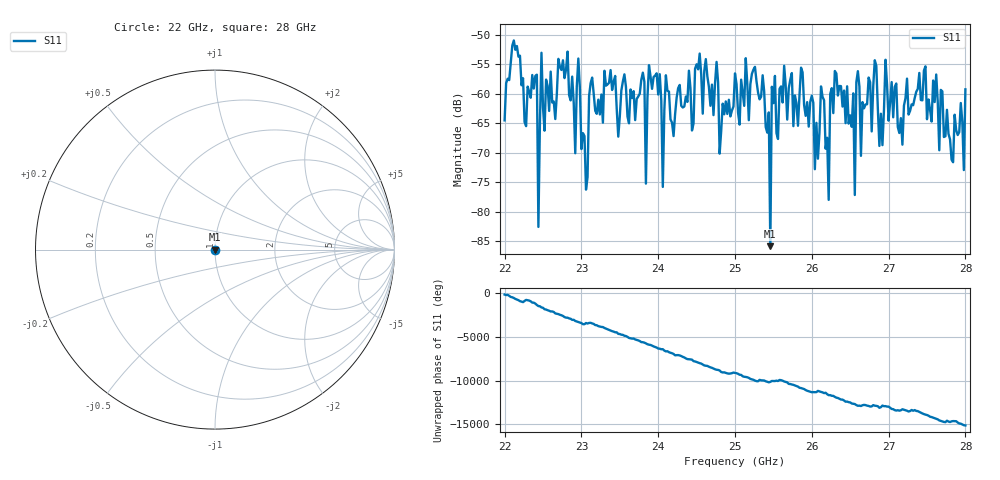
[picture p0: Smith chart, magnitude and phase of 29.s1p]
#  HZ  S  RI  R  50.00
! Rohde & Schwarz ZVA40 4Ports - Version 3.90 - 1145.1110k42 SN: 100403
! Date: 2023-10-04 06:56:09
! Measurement: S12
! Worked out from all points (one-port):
!   301 points, 22 GHz to 28 GHz, reference 50 ohm
!   lowest |S11| = -85.8 dB at 25.46 GHz (marker M1), VSWR 1.00, Z = 50 - j0.00448 ohm
!   |S11| at or under -10 dB: start of sweep to end of sweep
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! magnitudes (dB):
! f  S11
! 22 GHz  -64.5
! 22.42 GHz  -56.8
! 22.44 GHz  -82.6
! 22.48 GHz  -53.1
! 22.76 GHz  -54.4
! 22.92 GHz  -70.1
! 22.96 GHz  -54.1
! 23.06 GHz  -76.3
! 23.14 GHz  -57.3
! 23.5 GHz  -63.8
! 23.8 GHz  -56.4
! 23.84 GHz  -75.2
! 23.88 GHz  -55.2
! 24.02 GHz  -56.7
! 24.06 GHz  -75.8
! 24.1 GHz  -56.9
! 24.26 GHz  -59.1
! 25 GHz  -56.6
! 25.36 GHz  -56.9
! 25.46 GHz  -85.8
! 25.48 GHz  -58.8
! 25.76 GHz  -65.5
! 26.12 GHz  -58.8
! 26.22 GHz  -78.0
! 26.3 GHz  -56.2
! 26.5 GHz  -63.7
! 27.26 GHz  -63.5
! 28 GHz  -59.3
